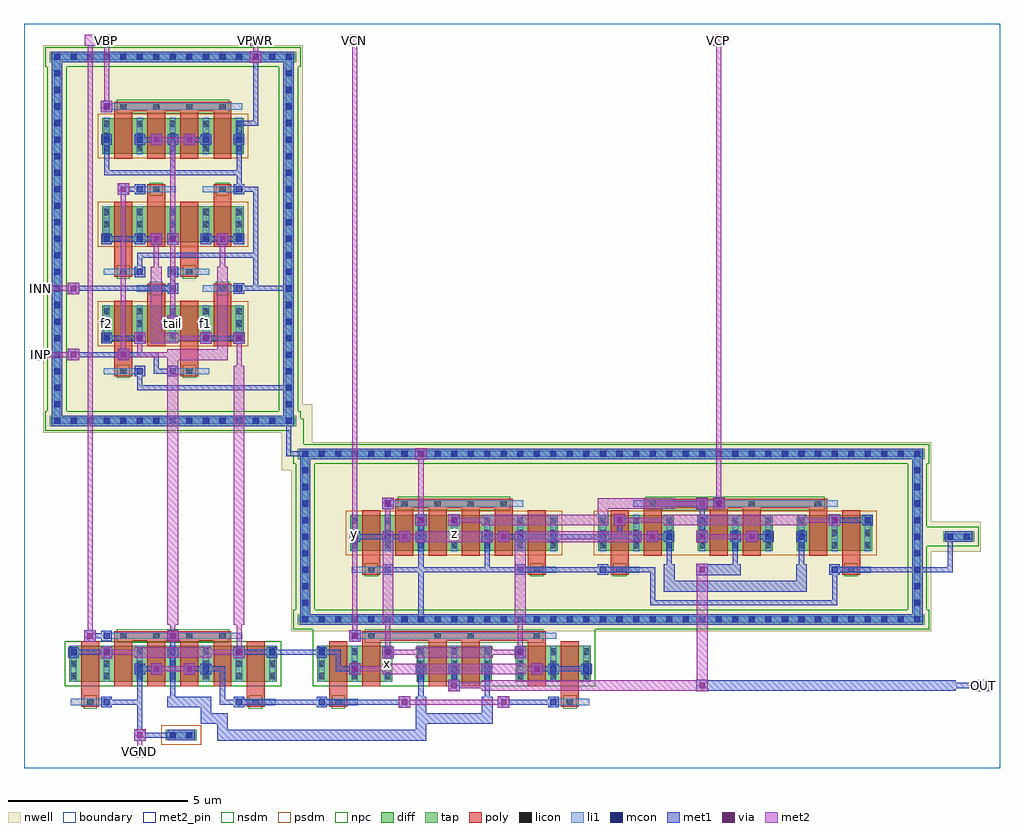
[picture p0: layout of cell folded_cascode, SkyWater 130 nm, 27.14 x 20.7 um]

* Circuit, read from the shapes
.subckt folded_cascode INN INP OUT VBN VBP VCN VCP VGND VPWR f1 f2 tail x y z
XM1 f1 VGND f1 VGND sky130_fd_pr__nfet_01v8 w=1 l=0.5 m=4
XM2 VGND VBN f1 VGND sky130_fd_pr__nfet_01v8 w=1 l=0.5 m=2
XM3 f2 VBN VGND VGND sky130_fd_pr__nfet_01v8 w=1 l=0.5 m=2
XM4 x VCN f1 VGND sky130_fd_pr__nfet_01v8 w=1 l=0.5 m=2
XM5 OUT VCN f2 VGND sky130_fd_pr__nfet_01v8 w=1 l=0.5 m=2
XM6 f2 VPWR f2 VPWR sky130_fd_pr__pfet_01v8 w=1 l=0.5 m=2
XM7 f1 VPWR f1 VPWR sky130_fd_pr__pfet_01v8 w=1 l=0.5 m=2
XM8 tail VBP VPWR VPWR sky130_fd_pr__pfet_01v8 w=1 l=0.5 m=4
XM9 tail INN f2 VPWR sky130_fd_pr__pfet_01v8 w=1 l=0.5 m=2
XM10 tail INP f1 VPWR sky130_fd_pr__pfet_01v8 w=1 l=0.5 m=2
XM11 y VPWR y VPWR sky130_fd_pr__pfet_01v8 w=1 l=0.5 m=4
XM12 VPWR x y VPWR sky130_fd_pr__pfet_01v8 w=1 l=0.5 m=2
XM13 z x VPWR VPWR sky130_fd_pr__pfet_01v8 w=1 l=0.5 m=2
XM14 x VCP y VPWR sky130_fd_pr__pfet_01v8 w=1 l=0.5 m=2
XM15 OUT VCP z VPWR sky130_fd_pr__pfet_01v8 w=1 l=0.5 m=2
.ends

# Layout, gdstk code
import gdstk
lib = gdstk.Library(unit=1e-6, precision=1e-09)
def R(c, l, rs):  # rectangles x0, y0, x1, y1
    for r in rs: c.add(gdstk.rectangle(r[:2], r[2:], *l))
def A(c, l, x, y, w, h, nx, ny, dx, dy):  # array of equal rectangles
    R(c, l, [(x+i*dx, y+j*dy, x+i*dx+w, y+j*dy+h) for i in range(nx) for j in range(ny)])
nwell = (64, 20)
diff = (65, 20)
tap = (65, 44)
poly = (66, 20)
licon = (66, 44)
li1 = (67, 20)
mcon = (67, 44)
met1 = (68, 20)
via = (68, 44)
met2_pin = (69, 16)
met2 = (69, 20)
nsdm = (93, 44)
psdm = (94, 20)
npc = (95, 20)
boundary = (235, 4)

folded_cascode = lib.new_cell('folded_cascode')
R(folded_cascode, nwell, [(7.435,3.815,25.225,6.02), (7.435,6.02,26.605,6.86), (7.435,6.86,25.225,8.284), (7.17,8.284,25.225,9.065), (7.17,9.065,8.01,9.335), (0.535,9.335,8.01,10.116), (0.535,10.116,7.745,20.105)])
A(folded_cascode, diff, 8.155, 2.405, 2.09, 1, 3, 1, 2.76, 0)
A(folded_cascode, diff, 15.975, 6.04, 2.09, 1, 3, 1, 2.76, 0)
R(folded_cascode, diff, [(1.255,2.405,7.025,3.405), (9.075,6.04,14.845,7.04), (2.175,11.865,6.105,12.865), (2.175,14.625,6.105,15.625), (2.175,17.08,6.105,18.08)])
R(folded_cascode, tap, [(3.935,0.775,4.805,1.065), (7.615,3.995,25.045,4.285), (7.675,3.995,7.965,8.885), (24.695,3.995,24.985,8.885), (25.555,6.295,26.425,6.585), (7.615,8.595,25.045,8.885), (0.715,9.515,7.565,9.805), (0.775,9.515,1.065,19.925), (7.215,9.515,7.505,19.925), (0.715,19.635,7.565,19.925)])
A(folded_cascode, poly, 2.51, 2.275, 0.5, 1.405, 4, 1, 0.92, 0)
A(folded_cascode, poly, 10.33, 5.91, 0.5, 1.45, 4, 1, 0.92, 0)
A(folded_cascode, poly, 2.51, 16.95, 0.5, 1.45, 4, 1, 0.92, 0)
R(folded_cascode, poly, [(1.59,1.705,2.09,1.975), (6.19,1.705,6.69,1.975), (8.49,1.705,8.99,1.975), (14.93,1.705,15.43,1.975), (1.59,1.84,2.09,3.535), (6.19,1.84,6.69,3.535), (8.49,1.84,8.99,3.535), (14.93,1.84,15.43,3.535), (9.41,2.275,9.91,3.68), (11.25,2.275,11.75,3.68), (12.17,2.275,12.67,3.68), (14.01,2.275,14.51,3.68), (2.51,3.545,5.77,3.815), (9.41,3.545,14.51,3.815), (9.41,5.385,9.91,5.655), (14.01,5.385,14.51,5.655), (16.31,5.385,16.81,5.655), (22.75,5.385,23.25,5.655), (9.41,5.52,9.91,7.17), (14.01,5.52,14.51,7.17), (16.31,5.52,16.81,7.17), (22.75,5.52,23.25,7.17), (17.23,5.91,17.73,7.36), (19.07,5.91,19.57,7.36), (19.99,5.91,20.49,7.36), (21.83,5.91,22.33,7.36), (10.33,7.225,13.59,7.495), (17.23,7.225,22.33,7.495), (2.51,10.905,3.01,11.175), (4.35,10.905,4.85,11.175), (2.51,11.04,3.01,12.995), (4.35,11.04,4.85,12.995), (3.43,11.735,3.93,13.34), (5.27,11.735,5.77,13.34), (3.43,13.205,3.93,13.475), (5.27,13.205,5.77,13.475), (2.51,13.665,3.01,13.935), (4.35,13.665,4.85,13.935), (2.51,13.8,3.01,15.755), (4.35,13.8,4.85,15.755), (3.43,14.495,3.93,16.1), (5.27,14.495,5.77,16.1), (3.43,15.965,3.93,16.235), (5.27,15.965,5.77,16.235), (2.51,18.265,5.77,18.535)])
A(folded_cascode, licon, 1.295, 2.48, 0.17, 0.17, 7, 3, 0.92, 0.34)
A(folded_cascode, licon, 8.195, 2.48, 0.17, 0.17, 9, 3, 0.92, 0.34)
A(folded_cascode, licon, 2.675, 3.595, 0.17, 0.17, 4, 2, 0.92, 14.72)
A(folded_cascode, licon, 7.735, 4.055, 0.17, 0.17, 38, 2, 0.46, 4.6)
A(folded_cascode, licon, 7.735, 4.515, 0.17, 0.17, 1, 9, 0, 0.46)
A(folded_cascode, licon, 24.755, 4.515, 0.17, 0.17, 1, 9, 0, 0.46)
A(folded_cascode, licon, 9.115, 6.115, 0.17, 0.17, 7, 3, 0.92, 0.34)
A(folded_cascode, licon, 16.015, 6.115, 0.17, 0.17, 9, 3, 0.92, 0.34)
A(folded_cascode, licon, 10.495, 7.275, 0.17, 0.17, 4, 1, 0.92, 0)
A(folded_cascode, licon, 0.835, 9.575, 0.17, 0.17, 15, 2, 0.46, 10.12)
A(folded_cascode, licon, 7.275, 10.035, 0.17, 0.17, 1, 7, 0, 0.46)
A(folded_cascode, licon, 0.835, 10.955, 0.17, 0.17, 3, 2, 1.84, 2.76)
A(folded_cascode, licon, 0.835, 11.415, 0.17, 0.17, 1, 5, 0, 0.46)
A(folded_cascode, licon, 2.215, 11.94, 0.17, 0.17, 5, 3, 0.92, 0.34)
A(folded_cascode, licon, 3.595, 13.255, 0.17, 0.17, 3, 2, 1.84, 2.76)
A(folded_cascode, licon, 7.275, 13.715, 0.17, 0.17, 1, 5, 0, 0.46)
A(folded_cascode, licon, 0.835, 14.175, 0.17, 0.17, 1, 12, 0, 0.46)
A(folded_cascode, licon, 2.215, 14.7, 0.17, 0.17, 5, 3, 0.92, 0.34)
A(folded_cascode, licon, 7.275, 16.475, 0.17, 0.17, 1, 7, 0, 0.46)
A(folded_cascode, licon, 2.215, 17.155, 0.17, 0.17, 5, 3, 0.92, 0.34)
R(folded_cascode, licon, [(4.055,0.835,4.225,1.005), (4.515,0.835,4.685,1.005), (1.755,1.755,1.925,1.925), (6.355,1.755,6.525,1.925), (8.655,1.755,8.825,1.925), (15.095,1.755,15.265,1.925), (9.575,3.595,9.745,3.765), (11.415,3.595,11.585,3.765), (12.335,3.595,12.505,3.765), (14.175,3.595,14.345,3.765), (9.575,5.435,9.745,5.605), (14.175,5.435,14.345,5.605), (16.475,5.435,16.645,5.605), (22.915,5.435,23.085,5.605), (25.675,6.355,25.845,6.525), (26.135,6.355,26.305,6.525), (17.395,7.275,17.565,7.445), (19.235,7.275,19.405,7.445), (20.155,7.275,20.325,7.445), (21.995,7.275,22.165,7.445), (0.835,10.035,1.005,10.205), (0.835,10.495,1.005,10.665)])
A(folded_cascode, li1, 1.295, 2.4, 0.17, 1.01, 7, 1, 0.92, 0)
A(folded_cascode, li1, 8.195, 2.4, 0.17, 1.01, 9, 1, 0.92, 0)
A(folded_cascode, li1, 9.115, 6.035, 0.17, 1.01, 7, 1, 0.92, 0)
A(folded_cascode, li1, 16.015, 6.035, 0.17, 1.01, 9, 1, 0.92, 0)
A(folded_cascode, li1, 2.215, 11.86, 0.17, 1.01, 5, 2, 0.92, 2.76)
A(folded_cascode, li1, 2.215, 17.075, 0.17, 1.01, 5, 1, 0.92, 0)
R(folded_cascode, li1, [(3.975,0.835,4.765,1.005), (1.295,1.755,2.385,1.925), (5.895,1.755,6.985,1.925), (8.195,1.755,9.285,1.925), (14.635,1.755,15.725,1.925), (2.215,3.595,6.065,3.765), (9.115,3.595,14.805,3.765), (7.655,4.055,25.005,4.225), (7.735,4.055,7.905,8.825), (24.755,4.055,24.925,8.825), (9.115,5.435,10.205,5.605), (13.715,5.435,14.805,5.605), (16.015,5.435,17.105,5.605), (22.455,5.435,23.545,5.605), (25.595,6.355,26.385,6.525), (10.035,7.275,13.885,7.445), (16.935,7.275,22.625,7.445), (7.655,8.655,25.005,8.825), (0.755,9.575,7.525,9.745), (0.835,9.575,1.005,19.865), (7.275,9.575,7.445,19.865), (2.215,10.955,3.305,11.125), (4.055,10.955,5.145,11.125), (3.135,13.255,4.225,13.425), (4.975,13.255,6.065,13.425), (2.215,13.715,3.305,13.885), (4.055,13.715,5.145,13.885), (3.135,16.015,4.225,16.185), (4.975,16.015,6.065,16.185), (2.215,18.315,6.065,18.485), (0.755,19.695,7.525,19.865)])
A(folded_cascode, mcon, 10.955, 2.675, 0.17, 0.17, 3, 1, 0.92, 0)
A(folded_cascode, mcon, 2.215, 3.135, 0.17, 0.17, 3, 1, 1.84, 0)
A(folded_cascode, mcon, 7.735, 4.055, 0.17, 0.17, 38, 2, 0.46, 4.6)
A(folded_cascode, mcon, 7.735, 4.515, 0.17, 0.17, 1, 9, 0, 0.46)
A(folded_cascode, mcon, 24.755, 4.515, 0.17, 0.17, 1, 9, 0, 0.46)
A(folded_cascode, mcon, 9.115, 6.355, 0.17, 0.17, 3, 1, 0.92, 0)
A(folded_cascode, mcon, 12.795, 6.355, 0.17, 0.17, 3, 1, 0.92, 0)
A(folded_cascode, mcon, 16.015, 6.355, 0.17, 0.17, 3, 1, 0.92, 0)
A(folded_cascode, mcon, 19.695, 6.355, 0.17, 0.17, 3, 1, 0.92, 0)
A(folded_cascode, mcon, 0.835, 9.575, 0.17, 0.17, 15, 2, 0.46, 10.12)
A(folded_cascode, mcon, 0.835, 10.035, 0.17, 0.17, 1, 5, 0, 0.46)
A(folded_cascode, mcon, 7.275, 10.035, 0.17, 0.17, 1, 5, 0, 0.46)
A(folded_cascode, mcon, 0.835, 12.335, 0.17, 0.17, 3, 1, 3.22, 0)
A(folded_cascode, mcon, 0.835, 12.795, 0.17, 0.17, 1, 15, 0, 0.46)
A(folded_cascode, mcon, 7.275, 12.795, 0.17, 0.17, 1, 15, 0, 0.46)
A(folded_cascode, mcon, 2.215, 14.635, 0.17, 0.17, 5, 2, 0.92, 2.76)
R(folded_cascode, mcon, [(4.055,0.835,4.225,1.005), (4.515,0.835,4.685,1.005), (2.215,1.755,2.385,1.925), (5.895,1.755,6.065,1.925), (8.195,1.755,8.365,1.925), (14.635,1.755,14.805,1.925), (3.135,2.675,3.305,2.845), (4.975,2.675,5.145,2.845), (9.115,2.675,9.285,2.845), (14.635,2.675,14.805,2.845), (15.555,2.675,15.725,2.845), (1.295,3.135,1.465,3.305), (6.815,3.135,6.985,3.305), (8.195,3.135,8.365,3.305), (10.035,3.135,10.205,3.305), (13.715,3.135,13.885,3.305), (2.215,3.595,2.385,3.765), (9.115,3.595,9.285,3.765), (10.035,5.435,10.205,5.605), (13.715,5.435,13.885,5.605), (16.015,5.435,16.185,5.605), (22.455,5.435,22.625,5.605), (25.675,6.355,25.845,6.525), (26.135,6.355,26.305,6.525), (11.875,6.815,12.045,6.985), (18.775,6.815,18.945,6.985), (22.455,6.815,22.625,6.985), (23.375,6.815,23.545,6.985), (10.035,7.275,10.205,7.445), (19.235,7.275,19.405,7.445), (3.135,10.955,3.305,11.125), (4.055,10.955,4.225,11.125), (2.215,11.875,2.385,12.045), (3.135,11.875,3.305,12.045), (4.975,11.875,5.145,12.045), (5.895,11.875,6.065,12.045), (4.055,13.255,4.225,13.425), (5.895,13.255,6.065,13.425), (3.135,13.715,3.305,13.885), (4.055,13.715,4.225,13.885), (3.135,16.015,3.305,16.185), (5.895,16.015,6.065,16.185), (2.215,18.315,2.385,18.485)])
A(folded_cascode, met1, 10.895, 2.615, 0.29, 0.29, 3, 1, 0.92, 0)
A(folded_cascode, met1, 2.155, 3.075, 0.29, 0.29, 3, 1, 1.84, 0)
A(folded_cascode, met1, 17.87, 5.45, 0.14, 1.06, 3, 1, 1.84, 0)
A(folded_cascode, met1, 17.32, 6.28, 0.32, 0.32, 3, 1, 1.38, 0)
A(folded_cascode, met1, 9.055, 6.295, 0.29, 0.29, 3, 1, 0.92, 0)
A(folded_cascode, met1, 12.735, 6.295, 0.29, 0.29, 3, 1, 0.92, 0)
A(folded_cascode, met1, 15.955, 6.295, 0.29, 0.29, 3, 1, 0.92, 0)
A(folded_cascode, met1, 19.635, 6.295, 0.29, 0.29, 3, 1, 0.92, 0)
A(folded_cascode, met1, 2.155, 14.575, 0.29, 0.29, 5, 2, 0.92, 2.76)
R(folded_cascode, met1, [(3.06,0.76,3.38,1.08), (5.37,0.77,5.67,1.53), (5.37,0.77,11.19,1.07), (10.89,0.77,11.19,1.99), (3.995,0.775,4.745,1.065), (3.15,0.85,4.21,0.99), (3.15,0.85,3.29,1.91), (4.07,0.85,4.21,0.99), (4.91,1.23,5.21,1.99), (4.91,1.23,5.67,1.53), (10.89,1.23,13.03,1.53), (12.73,1.23,13.03,1.99), (10.42,1.68,10.74,2), (13.18,1.68,13.5,2), (3.99,1.69,5.21,1.99), (2.155,1.695,2.445,1.985), (5.835,1.695,6.125,1.985), (8.135,1.695,8.425,1.985), (14.575,1.695,14.865,1.985), (2.23,1.77,3.29,1.91), (3.15,1.77,3.29,2.83), (4.07,1.77,4.21,3.29), (5.45,1.77,6.05,1.91), (5.45,1.77,5.59,2.83), (5.91,1.77,8.35,1.91), (8.21,1.77,10.65,1.91), (10.97,1.77,11.11,2.83), (12.81,1.77,12.95,2.83), (13.27,1.77,14.79,1.91), (11.8,2.14,12.12,2.46), (18.7,2.14,19.02,2.46), (26.52,2.14,26.84,2.46), (18.71,2.15,25.91,2.45), (11.89,2.23,12.03,2.83), (25.69,2.23,26.75,2.37), (3.52,2.6,3.84,2.92), (4.44,2.6,4.76,2.92), (9.04,2.6,9.36,2.92), (14.1,2.6,14.42,2.92), (3.075,2.615,3.365,2.905), (4.915,2.615,5.205,2.905), (9.055,2.615,9.345,2.905), (14.575,2.615,14.865,2.905), (15.495,2.615,15.785,2.905), (3.15,2.69,3.75,2.83), (4.53,2.69,5.13,2.83), (4.99,2.69,5.59,2.83), (8.67,2.69,9.27,2.83), (8.67,2.69,8.81,3.29), (14.19,2.69,14.79,2.83), (14.65,2.69,15.71,2.83), (2.14,3.06,2.46,3.38), (5.82,3.06,6.14,3.38), (9.96,3.06,10.28,3.38), (13.64,3.06,13.96,3.38), (1.235,3.075,1.525,3.365), (6.755,3.075,7.045,3.365), (8.135,3.075,8.425,3.365), (9.975,3.075,10.265,3.365), (13.655,3.075,13.945,3.365), (1.31,3.15,2.37,3.29), (4.07,3.15,4.21,3.75), (5.91,3.15,6.97,3.29), (6.83,3.15,8.35,3.29), (8.21,3.15,8.81,3.29), (1.68,3.52,2,3.84), (3.98,3.52,4.3,3.84), (9.04,3.52,9.36,3.84), (2.155,3.535,2.445,3.825), (9.055,3.535,9.345,3.825), (1.77,3.61,2.37,3.75), (7.675,3.995,24.985,4.285), (7.675,3.995,7.965,8.885), (24.695,3.995,24.985,8.885), (10.97,4.07,11.11,5.59), (10.97,4.07,11.11,4.21), (17.41,4.53,17.55,5.59), (17.41,4.53,22.61,4.67), (22.47,4.53,22.61,5.59), (17.79,4.91,18.09,5.67), (17.79,4.91,21.77,5.21), (21.47,4.91,21.77,5.67), (18.7,5.36,19.02,5.68), (18.71,5.37,19.93,5.67), (9.975,5.375,10.265,5.665), (13.655,5.375,13.945,5.665), (15.955,5.375,16.245,5.665), (22.395,5.375,22.685,5.665), (10.05,5.45,11.11,5.59), (10.97,5.45,13.87,5.59), (10.97,5.45,11.11,6.51), (12.81,5.45,12.95,6.51), (13.73,5.45,16.17,5.59), (16.03,5.45,17.55,5.59), (22.47,5.45,25.83,5.59), (25.69,5.45,25.83,6.51), (10.42,6.28,10.74,6.6), (13.18,6.28,13.5,6.6), (25.615,6.295,26.365,6.585), (9.13,6.37,10.19,6.51), (10.05,6.37,10.65,6.51), (10.97,6.37,11.11,6.97), (13.27,6.37,13.87,6.51), (13.73,6.37,14.79,6.51), (14.65,6.37,16.17,6.51), (16.03,6.37,17.09,6.51), (16.49,6.37,16.63,6.97), (17.41,6.37,18.01,6.51), (18.79,6.37,18.93,6.97), (20.17,6.37,20.77,6.51), (25.69,6.37,25.83,6.51), (10.88,6.74,11.2,7.06), (11.8,6.74,12.12,7.06), (16.4,6.74,16.72,7.06), (22.38,6.74,22.7,7.06), (11.815,6.755,12.105,7.045), (18.715,6.755,19.005,7.045), (22.395,6.755,22.685,7.045), (23.315,6.755,23.605,7.045), (18.79,6.83,18.93,7.43), (22.47,6.83,23.53,6.97), (9.96,7.2,10.28,7.52), (18.7,7.2,19.02,7.52), (19.16,7.2,19.48,7.52), (9.975,7.215,10.265,7.505), (19.175,7.215,19.465,7.505), (10.88,8.58,11.2,8.9), (7.675,8.595,24.985,8.885), (7.29,8.67,7.43,9.73), (7.29,8.67,11.11,8.81), (10.97,8.67,11.11,8.81), (0.775,9.515,1.065,19.925), (0.775,9.515,7.505,9.805), (7.215,9.515,7.505,19.925), (7.29,9.59,7.43,13.41), (7.29,9.59,7.43,9.73), (3.15,10.51,3.29,11.11), (3.15,10.51,7.43,10.65), (3.075,10.895,3.365,11.185), (3.995,10.895,4.285,11.185), (3.61,10.97,4.21,11.11), (3.61,10.97,3.75,11.57), (1.22,11.34,1.54,11.66), (2.6,11.34,2.92,11.66), (1.31,11.43,3.75,11.57), (3.06,11.8,3.38,12.12), (4.9,11.8,5.22,12.12), (5.82,11.8,6.14,12.12), (2.155,11.815,2.445,12.105), (3.075,11.815,3.365,12.105), (4.915,11.815,5.205,12.105), (5.835,11.815,6.125,12.105), (2.23,11.89,3.29,12.03), (4.99,11.89,6.05,12.03), (3.98,12.26,4.3,12.58), (3.995,12.275,4.285,12.565), (1.22,13.18,1.54,13.5), (3.995,13.195,4.285,13.485), (5.835,13.195,6.125,13.485), (1.31,13.27,4.21,13.41), (4.07,13.27,4.21,13.87), (5.91,13.27,7.43,13.41), (6.37,13.27,6.51,16.17), (3.075,13.655,3.365,13.945), (3.995,13.655,4.285,13.945), (3.15,13.73,3.29,14.33), (3.15,14.19,6.51,14.33), (3.52,14.56,3.84,14.88), (3.98,14.56,4.3,14.88), (5.36,14.56,5.68,14.88), (2.23,14.65,3.29,14.79), (3.15,14.65,3.75,14.79), (4.99,14.65,5.59,14.79), (5.45,14.65,6.05,14.79), (2.6,15.94,2.92,16.26), (3.075,15.955,3.365,16.245), (5.835,15.955,6.125,16.245), (2.69,16.03,3.29,16.17), (5.91,16.03,6.51,16.17), (5.91,16.03,6.05,17.55), (2.23,16.49,4.21,16.63), (2.23,16.49,2.37,17.55), (4.07,16.49,6.05,16.63), (4.07,16.49,4.21,17.55), (3.52,17.32,3.84,17.64), (4.44,17.32,4.76,17.64), (3.15,17.41,3.75,17.55), (4.53,17.41,5.13,17.55), (5.91,17.41,6.05,18.01), (5.91,17.87,6.51,18.01), (6.37,17.87,6.51,19.85), (2.14,18.24,2.46,18.56), (2.155,18.255,2.445,18.545), (6.28,19.62,6.6,19.94), (0.775,19.635,7.505,19.925), (6.37,19.71,6.51,19.85)])
A(folded_cascode, via, 17.405, 6.365, 0.15, 0.15, 3, 1, 1.38, 0)
R(folded_cascode, via, [(3.145,0.845,3.295,0.995), (10.505,1.765,10.655,1.915), (13.265,1.765,13.415,1.915), (11.885,2.225,12.035,2.375), (18.785,2.225,18.935,2.375), (26.605,2.225,26.755,2.375), (3.605,2.685,3.755,2.835), (4.525,2.685,4.675,2.835), (9.125,2.685,9.275,2.835), (14.185,2.685,14.335,2.835), (2.225,3.145,2.375,3.295), (5.905,3.145,6.055,3.295), (10.045,3.145,10.195,3.295), (13.725,3.145,13.875,3.295), (1.765,3.605,1.915,3.755), (4.065,3.605,4.215,3.755), (9.125,3.605,9.275,3.755), (18.785,5.445,18.935,5.595), (10.505,6.365,10.655,6.515), (13.265,6.365,13.415,6.515), (10.965,6.825,11.115,6.975), (11.885,6.825,12.035,6.975), (16.485,6.825,16.635,6.975), (22.465,6.825,22.615,6.975), (10.045,7.285,10.195,7.435), (18.785,7.285,18.935,7.435), (19.245,7.285,19.395,7.435), (10.965,8.665,11.115,8.815), (1.305,11.425,1.455,11.575), (2.685,11.425,2.835,11.575), (3.145,11.885,3.295,12.035), (4.985,11.885,5.135,12.035), (5.905,11.885,6.055,12.035), (4.065,12.345,4.215,12.495), (1.305,13.265,1.455,13.415), (3.605,14.645,3.755,14.795), (4.065,14.645,4.215,14.795), (5.445,14.645,5.595,14.795), (2.685,16.025,2.835,16.175), (3.605,17.405,3.755,17.555), (4.525,17.405,4.675,17.555), (2.225,18.325,2.375,18.475), (6.365,19.705,6.515,19.855)])
R(folded_cascode, met2_pin, [(3.07,0.31,3.37,0.61), (26.53,2.15,26.83,2.45), (0.31,11.35,0.61,11.65), (0.31,13.19,0.61,13.49), (1.69,20.09,1.99,20.39), (2.15,20.09,2.45,20.39), (6.29,20.09,6.59,20.39), (9.05,20.09,9.35,20.39), (19.17,20.09,19.47,20.39)])
A(folded_cascode, met2, 17.32, 6.28, 0.32, 0.32, 3, 1, 1.38, 0)
R(folded_cascode, met2, [(3.07,0.31,3.37,0.61), (3.15,0.39,3.29,0.53), (3.15,0.39,3.29,0.99), (3.06,0.76,3.38,1.08), (10.42,1.68,10.74,2), (13.18,1.68,13.5,2), (10.51,1.77,13.41,1.91), (11.8,2.14,12.12,2.46), (18.7,2.14,19.02,2.46), (26.52,2.14,26.84,2.46), (12.73,2.15,19.01,2.45), (18.71,2.15,19.01,5.67), (26.53,2.15,26.83,2.45), (11.89,2.23,12.95,2.37), (26.61,2.23,26.75,2.37), (3.52,2.6,3.84,2.92), (4.44,2.6,4.76,2.92), (9.04,2.6,9.36,2.92), (14.1,2.6,14.42,2.92), (9.97,2.61,13.95,2.91), (3.61,2.69,4.67,2.83), (9.13,2.69,10.19,2.83), (13.73,2.69,14.33,2.83), (2.14,3.06,2.46,3.38), (5.82,3.06,6.14,3.38), (9.96,3.06,10.28,3.38), (13.64,3.06,13.96,3.38), (3.07,3.07,5.21,3.37), (10.89,3.07,13.03,3.37), (2.23,3.15,3.29,3.29), (4.99,3.15,6.05,3.29), (5.91,3.15,6.05,4.21), (10.05,3.15,11.11,3.29), (10.05,3.15,10.19,4.21), (12.81,3.15,13.87,3.29), (13.73,3.15,13.87,4.21), (1.68,3.52,2,3.84), (3.98,3.52,4.3,3.84), (9.04,3.52,9.36,3.84), (1.77,3.61,1.91,20.31), (4.07,3.61,4.21,4.21), (9.13,3.61,9.27,20.31), (3.99,3.99,4.29,11.65), (5.83,3.99,6.13,11.19), (9.97,3.99,10.27,6.59), (13.65,3.99,13.95,6.59), (18.7,5.36,19.02,5.68), (10.42,6.28,10.74,6.6), (13.18,6.28,13.5,6.6), (10.89,6.29,13.03,6.59), (13.65,6.29,17.17,6.59), (10.05,6.37,10.19,7.43), (10.51,6.37,11.11,6.51), (12.81,6.37,13.41,6.51), (16.95,6.37,17.55,6.51), (18.79,6.37,20.31,6.51), (10.88,6.74,11.2,7.06), (11.8,6.74,12.12,7.06), (16.4,6.74,16.72,7.06), (22.38,6.74,22.7,7.06), (12.73,6.75,16.25,7.05), (15.95,6.75,16.25,7.51), (17.79,6.75,21.77,7.05), (10.97,6.83,11.11,8.81), (11.89,6.83,12.95,6.97), (16.49,6.83,18.01,6.97), (21.55,6.83,22.61,6.97), (9.96,7.2,10.28,7.52), (18.7,7.2,19.02,7.52), (19.16,7.2,19.48,7.52), (15.95,7.21,18.09,7.51), (17.87,7.29,18.93,7.43), (19.25,7.29,19.39,20.31), (10.88,8.58,11.2,8.9), (5.91,10.97,6.05,12.03), (1.22,11.34,1.54,11.66), (2.6,11.34,2.92,11.66), (0.31,11.35,0.61,11.65), (3.99,11.35,5.67,11.65), (5.37,11.35,5.67,13.95), (0.39,11.43,1.45,11.57), (0.39,11.43,0.53,11.57), (2.69,11.43,2.83,16.17), (3.15,11.43,4.21,11.57), (3.15,11.43,3.29,12.03), (3.06,11.8,3.38,12.12), (4.9,11.8,5.22,12.12), (5.82,11.8,6.14,12.12), (3.53,11.81,3.83,13.95), (3.53,11.81,4.29,12.11), (4.07,11.89,5.13,12.03), (3.98,12.26,4.3,12.58), (4.07,12.35,4.21,14.79), (1.22,13.18,1.54,13.5), (0.31,13.19,0.61,13.49), (0.39,13.27,1.45,13.41), (0.39,13.27,0.53,13.41), (3.61,13.73,3.75,14.79), (5.45,13.73,5.59,14.79), (3.52,14.56,3.84,14.88), (3.98,14.56,4.3,14.88), (5.36,14.56,5.68,14.88), (4.07,14.65,4.21,17.55), (2.6,15.94,2.92,16.26), (3.52,17.32,3.84,17.64), (4.44,17.32,4.76,17.64), (3.61,17.41,4.21,17.55), (4.07,17.41,4.67,17.55), (2.14,18.24,2.46,18.56), (2.23,18.33,2.37,20.31), (6.28,19.62,6.6,19.94), (6.37,19.71,6.51,20.31), (1.69,20.09,1.99,20.39), (2.15,20.09,2.45,20.39), (6.29,20.09,6.59,20.39), (9.05,20.09,9.35,20.39), (19.17,20.09,19.47,20.39), (1.77,20.17,1.91,20.31), (2.23,20.17,2.37,20.31), (6.37,20.17,6.51,20.31), (9.13,20.17,9.27,20.31), (19.25,20.17,19.39,20.31)])
R(folded_cascode, nsdm, [(1.13,2.28,7.15,3.53), (8.03,2.28,15.89,3.87), (7.49,3.87,25.17,4.41), (7.55,4.41,8.09,8.47), (24.57,4.41,25.11,6.17), (24.57,6.17,26.55,6.71), (24.57,6.71,25.11,8.47), (7.49,8.47,25.17,8.687), (7.4,8.687,25.17,9.01), (7.4,9.01,7.78,9.39), (0.59,9.39,7.78,9.713), (0.59,9.713,7.69,9.93), (0.65,9.93,1.19,19.51), (7.09,9.93,7.63,19.51), (0.59,19.51,7.69,20.05)])
R(folded_cascode, psdm, [(3.81,0.65,4.93,1.19), (8.95,5.915,14.97,7.165), (15.85,5.915,23.71,7.165), (2.05,11.74,6.23,12.99), (2.05,14.5,6.23,15.75), (2.05,16.955,6.23,18.205)])
R(folded_cascode, npc, [(1.655,1.655,2.025,2.025), (6.255,1.655,6.625,2.025), (8.555,1.655,8.925,2.025), (14.995,1.655,15.365,2.025), (2.575,3.495,5.705,3.865), (9.475,3.495,14.445,3.865), (9.475,5.335,9.845,5.705), (14.075,5.335,14.445,5.705), (16.375,5.335,16.745,5.705), (22.815,5.335,23.185,5.705), (10.395,7.175,13.525,7.545), (17.295,7.175,22.265,7.545), (2.575,10.855,2.945,11.225), (4.415,10.855,4.785,11.225), (3.495,13.155,3.865,13.525), (5.335,13.155,5.705,13.525), (2.575,13.615,2.945,13.985), (4.415,13.615,4.785,13.985), (3.495,15.915,3.865,16.285), (5.335,15.915,5.705,16.285), (2.575,18.215,5.705,18.585)])
R(folded_cascode, boundary, [(0,0,27.14,20.7)])
folded_cascode.add(gdstk.Label('f2', (2.3,12.365), layer=67, texttype=5))
folded_cascode.add(gdstk.Label('tail', (4.14,12.365), layer=67, texttype=5))
folded_cascode.add(gdstk.Label('f1', (5.06,12.365), layer=67, texttype=5))
folded_cascode.add(gdstk.Label('x', (10.12,2.905), layer=67, texttype=5))
folded_cascode.add(gdstk.Label('y', (9.2,6.54), layer=67, texttype=5))
folded_cascode.add(gdstk.Label('z', (11.96,6.54), layer=67, texttype=5))
folded_cascode.add(gdstk.Label('INP', (0.46,11.5), layer=69, texttype=5))
folded_cascode.add(gdstk.Label('INN', (0.46,13.34), layer=69, texttype=5))
folded_cascode.add(gdstk.Label('VBP', (2.3,20.24), layer=69, texttype=5))
folded_cascode.add(gdstk.Label('VBN', (1.84,20.24), layer=69, texttype=5))
folded_cascode.add(gdstk.Label('VCN', (9.2,20.24), layer=69, texttype=5))
folded_cascode.add(gdstk.Label('VCP', (19.32,20.24), layer=69, texttype=5))
folded_cascode.add(gdstk.Label('OUT', (26.68,2.3), layer=69, texttype=5))
folded_cascode.add(gdstk.Label('VPWR', (6.44,20.24), layer=69, texttype=5))
folded_cascode.add(gdstk.Label('VGND', (3.22,0.46), layer=69, texttype=5))
folded_cascode.add(gdstk.Label('INP', (0.46,11.5), layer=69, texttype=16))
folded_cascode.add(gdstk.Label('INN', (0.46,13.34), layer=69, texttype=16))
folded_cascode.add(gdstk.Label('VBP', (2.3,20.24), layer=69, texttype=16))
folded_cascode.add(gdstk.Label('VBN', (1.84,20.24), layer=69, texttype=16))
folded_cascode.add(gdstk.Label('VCN', (9.2,20.24), layer=69, texttype=16))
folded_cascode.add(gdstk.Label('VCP', (19.32,20.24), layer=69, texttype=16))
folded_cascode.add(gdstk.Label('OUT', (26.68,2.3), layer=69, texttype=16))
folded_cascode.add(gdstk.Label('VPWR', (6.44,20.24), layer=69, texttype=16))
folded_cascode.add(gdstk.Label('VGND', (3.22,0.46), layer=69, texttype=16))

lib.write_gds('folded_cascode.gds')
